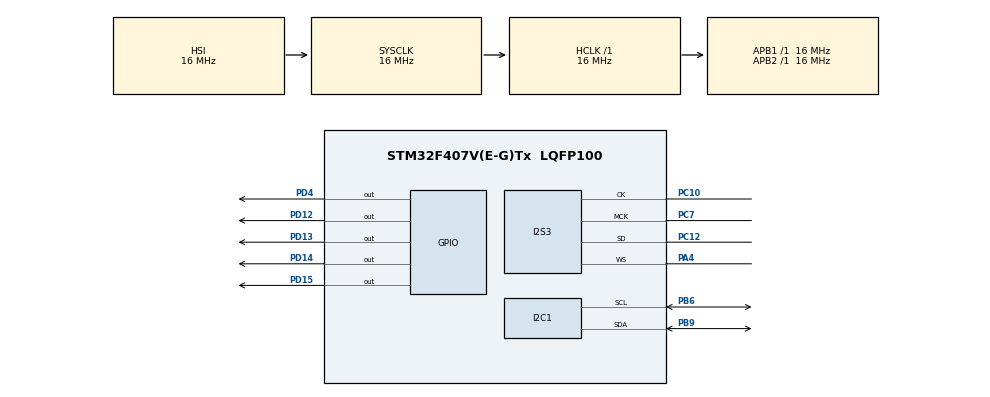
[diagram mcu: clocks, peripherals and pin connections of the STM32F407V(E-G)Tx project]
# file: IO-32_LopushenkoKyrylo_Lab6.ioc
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Dma.Request0=SPI3_TX
Dma.SPI3_TX.0.Direction=DMA_MEMORY_TO_PERIPH
Dma.SPI3_TX.0.FIFOMode=DMA_FIFOMODE_ENABLE
Dma.SPI3_TX.0.FIFOThreshold=DMA_FIFO_THRESHOLD_FULL
Dma.SPI3_TX.0.Instance=DMA1_Stream5
Dma.SPI3_TX.0.MemBurst=DMA_MBURST_SINGLE
Dma.SPI3_TX.0.MemDataAlignment=DMA_MDATAALIGN_HALFWORD
Dma.SPI3_TX.0.MemInc=DMA_MINC_ENABLE
Dma.SPI3_TX.0.Mode=DMA_CIRCULAR
Dma.SPI3_TX.0.PeriphBurst=DMA_PBURST_SINGLE
Dma.SPI3_TX.0.PeriphDataAlignment=DMA_PDATAALIGN_HALFWORD
Dma.SPI3_TX.0.PeriphInc=DMA_PINC_DISABLE
Dma.SPI3_TX.0.Priority=DMA_PRIORITY_LOW
I2S3.AudioFreq=I2S_AUDIOFREQ_48K
I2S3.ErrorAudioFreq=-2.34 %
I2S3.FullDuplexMode=I2S_FULLDUPLEXMODE_DISABLE
I2S3.Instance=SPI$Index
I2S3.RealAudioFreq=46.875 KHz
I2S3.VirtualMode=I2S_MODE_MASTER
Mcu.Family=STM32F4
Mcu.Name=STM32F407V(E-G)Tx
Mcu.Package=LQFP100
NVIC.DMA1_Stream5_IRQn=true\:0\:0\:false\:false\:true\:false\:true\:true
NVIC.PriorityGroup=NVIC_PRIORITYGROUP_4
PA4.Mode=Half_Duplex_Master
PA4.Signal=I2S3_WS
PB6.Mode=I2C
PB6.Signal=I2C1_SCL
PB9.Mode=I2C
PB9.Signal=I2C1_SDA
PC10.Mode=Half_Duplex_Master
PC10.Signal=I2S3_CK
PC12.Mode=Half_Duplex_Master
PC12.Signal=I2S3_SD
PC7.Mode=Master_Clock_Activated
PC7.Signal=I2S3_MCK
PD12.Signal=GPIO_Output
PD13.Signal=GPIO_Output
PD14.Signal=GPIO_Output
PD15.Signal=GPIO_Output
PD4.Signal=GPIO_Output
ProjectManager.HeapSize=0x200
ProjectManager.StackSize=0x400
ProjectManager.TargetToolchain=STM32CubeIDE
RCC.AHBFreq_Value=16000000
RCC.APB1Freq_Value=16000000
RCC.APB2Freq_Value=16000000
RCC.CortexFreq_Value=16000000
RCC.HSE_VALUE=25000000
RCC.HSI_VALUE=16000000
RCC.LSE_VALUE=32768
RCC.SYSCLKFreq_VALUE=16000000
RCC.VCOOutputFreq_Value=192000000
board=custom

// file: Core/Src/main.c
/* USER CODE BEGIN Header */
/**
  ******************************************************************************
  * @file           : main.c
  * @brief          : Main program body
  ******************************************************************************
  * @attention
  *
  * Copyright (c) 2026 STMicroelectronics.
  * All rights reserved.
  *
  * This software is licensed under terms that can be found in the LICENSE file
  * in the root directory of this software component.
  * If no LICENSE file comes with this software, it is provided AS-IS.
  *
  ******************************************************************************
  */
/* USER CODE END Header */
#include "main.h"

/* USER CODE BEGIN PTD */

typedef enum
{
    C4 = 0, D4, E4, F4, G4, A4, B4,
    C5, D5, E5, F5, G5, A5, B5,
    C6, D6,
    SILENCE,
    MAX_VALUE
} soundToneType;

typedef struct {
    soundToneType pitch;
    uint32_t duration_ms;
} Note;

/* USER CODE END PTD */

/* USER CODE BEGIN PD */
#define CS43L22_I2C_ADDRESS    0x94
#define I2C_TIMEOUT          10
/* USER CODE END PD */

I2C_HandleTypeDef hi2c1;

I2S_HandleTypeDef hi2s3;
DMA_HandleTypeDef hdma_spi3_tx;

/* USER CODE BEGIN PV */
int16_t dataI2S[100] = {0}; // Масив нулів для тактування ЦАП через I2S
/* USER CODE END PV */

void SystemClock_Config(void);
static void MX_GPIO_Init(void);
static void MX_DMA_Init(void);
static void MX_I2C1_Init(void);
static void MX_I2S3_Init(void);

/* USER CODE BEGIN 0 */
// Функція світломузики
void Light_Show(soundToneType pitch)
{
    // Спочатку вимикаємо всі світлодіоди
    HAL_GPIO_WritePin(GPIOD, GPIO_PIN_12 | GPIO_PIN_13 | GPIO_PIN_14 | GPIO_PIN_15, GPIO_PIN_RESET);

    // Якщо тиша, залишаємо вимкненими
    if (pitch == SILENCE) return;

    // Вмикаємо один із 4-х світлодіодів залежно від висоти ноти
    uint16_t led_pin;
    switch (pitch % 4) {
        case 0: led_pin = GPIO_PIN_12; break; // Зелений
        case 1: led_pin = GPIO_PIN_13; break; // Помаранчевий
        case 2: led_pin = GPIO_PIN_14; break; // Червоний
        case 3: led_pin = GPIO_PIN_15; break; // Синій
        default: led_pin = GPIO_PIN_12;
    }
    HAL_GPIO_WritePin(GPIOD, led_pin, GPIO_PIN_SET);
}

// Ініціалізація CS43L22
void CS43L22_Init(void)
{
    // Увімкнення живлення мікросхеми
    HAL_GPIO_WritePin(GPIOD, GPIO_PIN_4, GPIO_PIN_SET);

    uint8_t TxBuffer[2];

    TxBuffer[0] = 0x0D; TxBuffer[1] = 0x01;
    HAL_I2C_Master_Transmit(&hi2c1, CS43L22_I2C_ADDRESS, (uint8_t*) &TxBuffer, 2, I2C_TIMEOUT);

    TxBuffer[0] = 0x00; TxBuffer[1] = 0x99;
    HAL_I2C_Master_Transmit(&hi2c1, CS43L22_I2C_ADDRESS, (uint8_t*) &TxBuffer, 2, I2C_TIMEOUT);

    TxBuffer[0] = 0x47; TxBuffer[1] = 0x80;
    HAL_I2C_Master_Transmit(&hi2c1, CS43L22_I2C_ADDRESS, (uint8_t*) &TxBuffer, 2, I2C_TIMEOUT);

    TxBuffer[0] = 0x32; TxBuffer[1] = 0xFF;
    HAL_I2C_Master_Transmit(&hi2c1, CS43L22_I2C_ADDRESS, (uint8_t*) &TxBuffer, 2, I2C_TIMEOUT);

    TxBuffer[0] = 0x32; TxBuffer[1] = 0x7F;
    HAL_I2C_Master_Transmit(&hi2c1, CS43L22_I2C_ADDRESS, (uint8_t*) &TxBuffer, 2, I2C_TIMEOUT);

    TxBuffer[0] = 0x00; TxBuffer[1] = 0x00;
    HAL_I2C_Master_Transmit(&hi2c1, CS43L22_I2C_ADDRESS, (uint8_t*) &TxBuffer, 2, I2C_TIMEOUT);

    TxBuffer[0] = 0x04; TxBuffer[1] = 0xAF;
    HAL_I2C_Master_Transmit(&hi2c1, CS43L22_I2C_ADDRESS, (uint8_t*) &TxBuffer, 2, I2C_TIMEOUT);

    TxBuffer[0] = 0x0D; TxBuffer[1] = 0x70;
    HAL_I2C_Master_Transmit(&hi2c1, CS43L22_I2C_ADDRESS, (uint8_t*) &TxBuffer, 2, I2C_TIMEOUT);

    TxBuffer[0] = 0x05; TxBuffer[1] = 0x81;
    HAL_I2C_Master_Transmit(&hi2c1, CS43L22_I2C_ADDRESS, (uint8_t*) &TxBuffer, 2, I2C_TIMEOUT);

    TxBuffer[0] = 0x06; TxBuffer[1] = 0x07;
    HAL_I2C_Master_Transmit(&hi2c1, CS43L22_I2C_ADDRESS, (uint8_t*) &TxBuffer, 2, I2C_TIMEOUT);

    TxBuffer[0] = 0x0A; TxBuffer[1] = 0x00;
    HAL_I2C_Master_Transmit(&hi2c1, CS43L22_I2C_ADDRESS, (uint8_t*) &TxBuffer, 2, I2C_TIMEOUT);

    TxBuffer[0] = 0x27; TxBuffer[1] = 0x00;
    HAL_I2C_Master_Transmit(&hi2c1, CS43L22_I2C_ADDRESS, (uint8_t*) &TxBuffer, 2, I2C_TIMEOUT);

    TxBuffer[0] = 0x1A; TxBuffer[1] = 0x0A;
    HAL_I2C_Master_Transmit(&hi2c1, CS43L22_I2C_ADDRESS, (uint8_t*) &TxBuffer, 2, I2C_TIMEOUT);

    TxBuffer[0] = 0x1B; TxBuffer[1] = 0x0A;
    HAL_I2C_Master_Transmit(&hi2c1, CS43L22_I2C_ADDRESS, (uint8_t*) &TxBuffer, 2, I2C_TIMEOUT);

    TxBuffer[0] = 0x1F; TxBuffer[1] = 0x0F;
    HAL_I2C_Master_Transmit(&hi2c1, CS43L22_I2C_ADDRESS, (uint8_t*) &TxBuffer, 2, I2C_TIMEOUT);

    TxBuffer[0] = 0x02; TxBuffer[1] = 0x9E;
    HAL_I2C_Master_Transmit(&hi2c1, CS43L22_I2C_ADDRESS, (uint8_t*) &TxBuffer, 2, I2C_TIMEOUT);
}

// Функція програвання ноти
void CS43L22_Beep(soundToneType pitch, uint32_t duration_ms)
{
    uint8_t TxBuffer[2];

    // Вмикаємо світлодіод відповідно до ноти
    Light_Show(pitch);

    if (pitch == SILENCE) {
        HAL_Delay(duration_ms);
        return;
    }

    // Регістр 0x1D: Гучність біпу та час вимкнення
    TxBuffer[0] = 0x1D;
    TxBuffer[1] = 0x00;
    HAL_I2C_Master_Transmit(&hi2c1, CS43L22_I2C_ADDRESS, (uint8_t*) &TxBuffer, 2, I2C_TIMEOUT);

    // Регістр 0x1C: Частота звуку (старші 4 біти)
    TxBuffer[0] = 0x1C;
    TxBuffer[1] = (uint8_t)pitch << 4;
    HAL_I2C_Master_Transmit(&hi2c1, CS43L22_I2C_ADDRESS, (uint8_t*) &TxBuffer, 2, I2C_TIMEOUT);

    // Регістр 0x1E: Запуск генератора
    TxBuffer[0] = 0x1E;
    TxBuffer[1] = 0xC0;
    HAL_I2C_Master_Transmit(&hi2c1, CS43L22_I2C_ADDRESS, (uint8_t*) &TxBuffer, 2, I2C_TIMEOUT);

    // Чекаємо, поки нота звучить
    HAL_Delay(duration_ms);

    // Регістр 0x1E: Зупинка генератора
    TxBuffer[0] = 0x1E;
    TxBuffer[1] = 0x00;
    HAL_I2C_Master_Transmit(&hi2c1, CS43L22_I2C_ADDRESS, (uint8_t*) &TxBuffer, 2, I2C_TIMEOUT);

    // Вимикаємо світлодіод після відтворення
    Light_Show(SILENCE);
}
/* USER CODE END 0 */

int main(void)
{

  /* MCU Configuration--------------------------------------------------------*/

  /* Reset of all peripherals, Initializes the Flash interface and the Systick. */
  HAL_Init();

  /* Configure the system clock */
  SystemClock_Config();

  /* Initialize all configured peripherals */
  MX_GPIO_Init();
  MX_DMA_Init();
  MX_I2C1_Init();
  MX_I2S3_Init();
  /* USER CODE BEGIN 2 */
    // Ініціалізація ЦАП
    CS43L22_Init();

    // Запуск фонового I2S з DMA (передача масиву нулів)
    HAL_I2S_Transmit_DMA(&hi2s3, (uint16_t *)dataI2S, 100);

    // Створюємо мелодію
    Note melody[] = {
    		{C4, 300}, {C4, 150}, {D4, 400}, {C4, 400}, {F4, 400}, {E4, 800},
    		{C4, 300}, {C4, 150}, {D4, 400}, {C4, 400}, {G4, 400}, {F4, 800}
    };

    uint8_t melody_length = sizeof(melody) / sizeof(melody[0]);
    uint8_t play_count = 0; // Лічильник повторень (нам потрібно 3)
  /* USER CODE END 2 */

  /* Infinite loop */
  /* USER CODE BEGIN WHILE */
  HAL_Delay(15000);
  while (1)
  {
    /* USER CODE END WHILE */

    /* USER CODE BEGIN 3 */

	  if (play_count < 3)
	        {
	            // Програємо мелодію 1 раз
	            for (int i = 0; i < melody_length; i++)
	            {
	                CS43L22_Beep(melody[i].pitch, melody[i].duration_ms);
	                HAL_Delay(50); // Коротка пауза між нотами для чіткості звучання
	            }

	            play_count++; // Збільшуємо лічильник програвань
	            HAL_Delay(1000); // Секундна пауза перед наступним повторенням
	        }
  }
  /* USER CODE END 3 */
}

void SystemClock_Config(void)
{
  RCC_OscInitTypeDef RCC_OscInitStruct = {0};
  RCC_ClkInitTypeDef RCC_ClkInitStruct = {0};

  /** Macro to configure the PLL multiplication factor
  */
  __HAL_RCC_PLL_PLLM_CONFIG(16);

  /** Macro to configure the PLL clock source
  */
  __HAL_RCC_PLL_PLLSOURCE_CONFIG(RCC_PLLSOURCE_HSI);

  /** Configure the main internal regulator output voltage
  */
  __HAL_RCC_PWR_CLK_ENABLE();
  __HAL_PWR_VOLTAGESCALING_CONFIG(PWR_REGULATOR_VOLTAGE_SCALE1);

  /** Initializes the RCC Oscillators according to the specified parameters
  * in the RCC_OscInitTypeDef structure.
  */
  RCC_OscInitStruct.OscillatorType = RCC_OSCILLATORTYPE_HSI;
  RCC_OscInitStruct.HSIState = RCC_HSI_ON;
  RCC_OscInitStruct.HSICalibrationValue = RCC_HSICALIBRATION_DEFAULT;
  RCC_OscInitStruct.PLL.PLLState = RCC_PLL_NONE;
  RCC_OscInitStruct.PLL.PLLSource = RCC_PLLSOURCE_HSI;
  if (HAL_RCC_OscConfig(&RCC_OscInitStruct) != HAL_OK)
  {
    Error_Handler();
  }

  /** Initializes the CPU, AHB and APB buses clocks
  */
  RCC_ClkInitStruct.ClockType = RCC_CLOCKTYPE_HCLK|RCC_CLOCKTYPE_SYSCLK
                              |RCC_CLOCKTYPE_PCLK1|RCC_CLOCKTYPE_PCLK2;
  RCC_ClkInitStruct.SYSCLKSource = RCC_SYSCLKSOURCE_HSI;
  RCC_ClkInitStruct.AHBCLKDivider = RCC_SYSCLK_DIV1;
  RCC_ClkInitStruct.APB1CLKDivider = RCC_HCLK_DIV1;
  RCC_ClkInitStruct.APB2CLKDivider = RCC_HCLK_DIV1;

  if (HAL_RCC_ClockConfig(&RCC_ClkInitStruct, FLASH_LATENCY_0) != HAL_OK)
  {
    Error_Handler();
  }
}

static void MX_I2C1_Init(void)
{

  hi2c1.Instance = I2C1;
  hi2c1.Init.ClockSpeed = 100000;
  hi2c1.Init.DutyCycle = I2C_DUTYCYCLE_2;
  hi2c1.Init.OwnAddress1 = 0;
  hi2c1.Init.AddressingMode = I2C_ADDRESSINGMODE_7BIT;
  hi2c1.Init.DualAddressMode = I2C_DUALADDRESS_DISABLE;
  hi2c1.Init.OwnAddress2 = 0;
  hi2c1.Init.GeneralCallMode = I2C_GENERALCALL_DISABLE;
  hi2c1.Init.NoStretchMode = I2C_NOSTRETCH_DISABLE;
  if (HAL_I2C_Init(&hi2c1) != HAL_OK)
  {
    Error_Handler();
  }

}

static void MX_I2S3_Init(void)
{

  hi2s3.Instance = SPI3;
  hi2s3.Init.Mode = I2S_MODE_MASTER_TX;
  hi2s3.Init.Standard = I2S_STANDARD_PHILIPS;
  hi2s3.Init.DataFormat = I2S_DATAFORMAT_16B;
  hi2s3.Init.MCLKOutput = I2S_MCLKOUTPUT_ENABLE;
  hi2s3.Init.AudioFreq = I2S_AUDIOFREQ_48K;
  hi2s3.Init.CPOL = I2S_CPOL_LOW;
  hi2s3.Init.ClockSource = I2S_CLOCK_PLL;
  hi2s3.Init.FullDuplexMode = I2S_FULLDUPLEXMODE_DISABLE;
  if (HAL_I2S_Init(&hi2s3) != HAL_OK)
  {
    Error_Handler();
  }

}

static void MX_DMA_Init(void)
{

  /* DMA controller clock enable */
  __HAL_RCC_DMA1_CLK_ENABLE();

  /* DMA interrupt init */
  /* DMA1_Stream5_IRQn interrupt configuration */
  HAL_NVIC_SetPriority(DMA1_Stream5_IRQn, 0, 0);
  HAL_NVIC_EnableIRQ(DMA1_Stream5_IRQn);

}

static void MX_GPIO_Init(void)
{
  GPIO_InitTypeDef GPIO_InitStruct = {0};

  /* GPIO Ports Clock Enable */
  __HAL_RCC_GPIOA_CLK_ENABLE();
  __HAL_RCC_GPIOD_CLK_ENABLE();
  __HAL_RCC_GPIOC_CLK_ENABLE();
  __HAL_RCC_GPIOB_CLK_ENABLE();

  /*Configure GPIO pin Output Level */
  HAL_GPIO_WritePin(GPIOD, GPIO_PIN_12|GPIO_PIN_13|GPIO_PIN_14|GPIO_PIN_15
                          |GPIO_PIN_4, GPIO_PIN_RESET);

  /*Configure GPIO pins : PD12 PD13 PD14 PD15
                           PD4 */
  GPIO_InitStruct.Pin = GPIO_PIN_12|GPIO_PIN_13|GPIO_PIN_14|GPIO_PIN_15
                          |GPIO_PIN_4;
  GPIO_InitStruct.Mode = GPIO_MODE_OUTPUT_PP;
  GPIO_InitStruct.Pull = GPIO_NOPULL;
  GPIO_InitStruct.Speed = GPIO_SPEED_FREQ_LOW;
  HAL_GPIO_Init(GPIOD, &GPIO_InitStruct);

}

void Error_Handler(void)
{
  __disable_irq();
  while (1)
  {
  }
}
